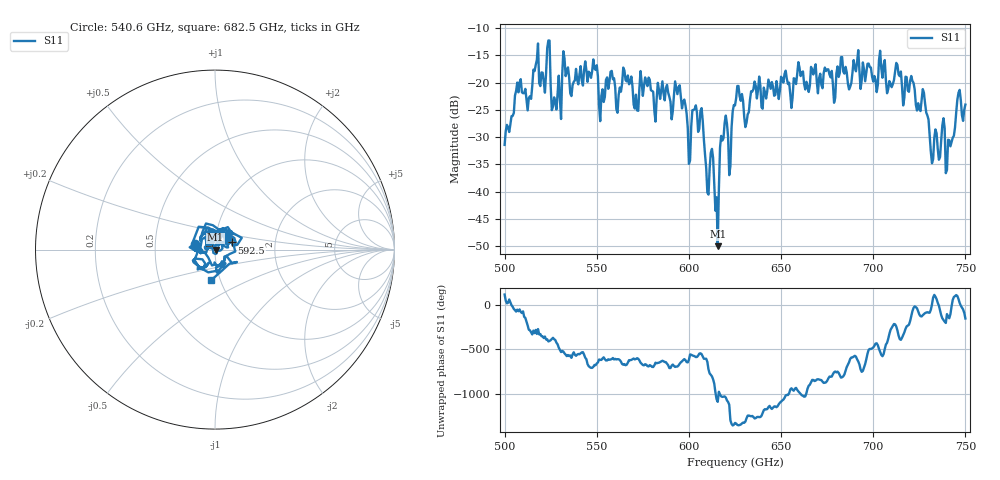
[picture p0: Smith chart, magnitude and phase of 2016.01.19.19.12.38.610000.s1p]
!Created with skrf (http://scikit-rf.org).
# GHz S RI R 50.0
!freq ReS11 ImS11
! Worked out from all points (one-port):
!   401 points, 500 GHz to 750 GHz, reference 50 ohm
!   lowest |S11| = -50.0 dB at 615.6 GHz (marker M1), VSWR 1.01, Z = 50.3 - j0.0422 ohm
!   |S11| at or under -10 dB: start of sweep to end of sweep
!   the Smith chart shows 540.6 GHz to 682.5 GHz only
!   S11 on the Smith chart (normalised r, x): 540.6 GHz: 0.79, +0.05; 592.5 GHz: 1.20, +0.10; 682.5 GHz: 0.91, -0.32
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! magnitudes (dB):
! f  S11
! 500 GHz  -31.4
! 507.5 GHz  -21.8
! 513.8 GHz  -22.5
! 516.9 GHz  -16.8
! 523.8 GHz  -12.3
! 526.9 GHz  -22.7
! 531.2 GHz  -18.5
! 540.6 GHz  -18.5
! 562.5 GHz  -20.9
! 592.5 GHz  -19.8
! 593.8 GHz  -22.1
! 600 GHz  -34.9
! 606.9 GHz  -24.7
! 610 GHz  -40.2
! 612.5 GHz  -32.2
! 615.6 GHz  -50.0
! 618.1 GHz  -30.6
! 622.5 GHz  -35.3
! 625 GHz  -24.2
! 656.2 GHz  -22.7
! 682.5 GHz  -15.3
! 687.5 GHz  -20.8
! 718.8 GHz  -21.4
! 728.1 GHz  -23.8
! 731.9 GHz  -34.8
! 740.6 GHz  -30.5
! 746.2 GHz  -21.9
! 750 GHz  -24.1
